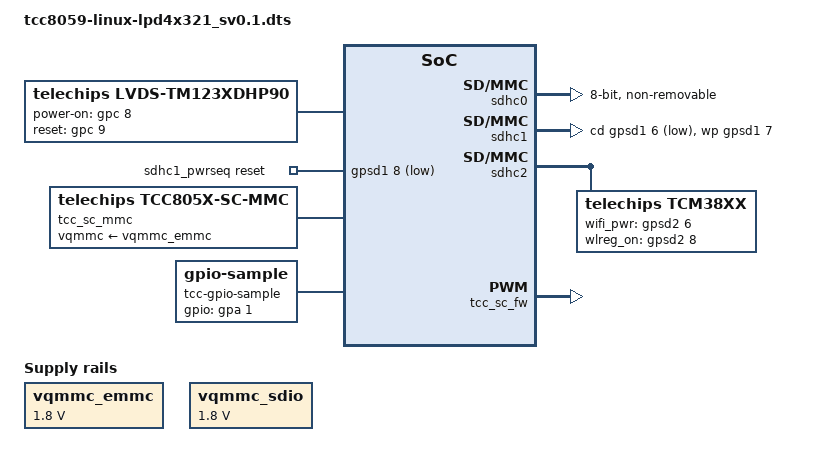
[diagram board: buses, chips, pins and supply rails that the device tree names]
// SPDX-License-Identifier: (GPL-2.0-or-later OR MIT)
/*
 * Copyright (C) Telechips Inc.
 * Device tree for Telechips TCC8059 AVN board
 */

#ifndef DT_OVERLAY
/dts-v1/;
#endif

#include "tcc8059-linux-avn.dtsi"
#include "tcc8059-linux-avn-display.dtsi"

/ {
	/* Describe here after remove this statement if you have something to be override. */
	tm123xdhp90 {
		compatible = "telechips,lvds-tm123xdhp90";
		status = "okay";
		lvds0 = <&lvds_phy>;
		power-on-gpios = <&gpc 8 0>;   // LCD_ON
		reset-gpios = <&gpc 9 0>;    // LCD_RST
		/*
			 display-on-gpios = ;    // LCD_DISP
			 lvds-stby-gpios = ;   // LCD_DE = LVDS_STBY in LVDS
			 lvds-power-gpios = ;    // LVDS_EN
			 lvds-power-gpios1 = ;   // V_5V0_EN
		 */
		mode = <1>;   /* 0: single 1: dual */
		ports = <2 3>;
		mux_select = <2>;
	};

	vqmmc_emmc: vqmmc_emmc {
		compatible = "regulator-fixed";
		regulator-name = "vqmmc_emmc";
		regulator-min-microvolt = <1800000>;
		regulator-max-microvolt = <1800000>;
		regulator-always-on;
	};

	sdhc1_pwrseq: sdhc1_pwrseq {
		compatible = "mmc-pwrseq-simple";
		reset-gpios = <&gpsd1 8 GPIO_ACTIVE_LOW>;
	};

	vqmmc_sdio: vqmmc_sdio {
		compatible = "regulator-fixed";
		regulator-name = "vqmmc_sdio";
		regulator-min-microvolt = <1800000>;
		regulator-max-microvolt = <1800000>;
		regulator-always-on;
	};

        vioc_mgr@0 {
                status = "okay";
        };

	tcc_vsync {
		compatible = "telechips,tcc_vsync";
		display-vioc0 = <&vioc_disp VIOC_DISP0>;
		display-vioc1 = <&vioc_disp VIOC_DISP1>;
		status = "okay";
	};

	tcc_viqe {
		compatible = "telechips,tcc_viqe";
		status ="okay";
		tcc_viqe_viqe_common {
			board_num=<1>;
		};
	};

	tcc_vsync: tcc_vsync_drv {};

	tcc_viqe: tcc_video_viqe {
		compatible = "telechips,tcc_viqe";

		tcc_viqe_viqe_common {
			telechips,viqe,0 = <&vioc_viqe VIOC_VIQE0>;
			telechips,viqe,1 = <&vioc_viqe VIOC_VIQE1>;
			vioc_deintls = <VIOC_DEINTLS0>;
			board_num=<0>;
		};

		tcc_video_viqe_lcd {
			telechips,wmixer = <&vioc_wmix VIOC_WMIX1>;
			telechips,rdma,60 = <&vioc_rdma VIOC_RDMA07>;
			telechips,disp = <&vioc_disp VIOC_DISP1>;
			telechips,sc = <&vioc_scaler VIOC_SCALER1>;
			viqe_rdma_num_60 = <VIOC_VIQE_RDMA_07>;
			sc_rdma_num_60 = <VIOC_SC_RDMA_07>;
		};

		tcc_video_viqe_external {
			telechips,wmixer = <&vioc_wmix VIOC_WMIX0>;
			telechips,rdma,60 = <&vioc_rdma VIOC_RDMA03>;
			telechips,disp = <&vioc_disp VIOC_DISP0>;
			telechips,sc = <&vioc_scaler VIOC_SCALER1>;
			viqe_rdma_num_60 = <VIOC_VIQE_RDMA_03>;
			sc_rdma_num_60 = <VIOC_SC_RDMA_03>;
		};

	        tcc_video_viqe_external_sub {
	            telechips,wmixer = <&vioc_wmix VIOC_WMIX0>;
	            telechips,rdma,60 = <&vioc_rdma VIOC_RDMA02>;
	            telechips,disp = <&vioc_disp VIOC_DISP0>;
	            telechips,sc = <&vioc_scaler VIOC_SCALER3>;
	            viqe_rdma_num_60 = <VIOC_VIQE_RDMA_02>;
	            sc_rdma_num_60 = <VIOC_SC_RDMA_02>;
	        };

		tcc_video_main_m2m{
			main_rdma_num_m2m = <VIOC_VIQE_RDMA_16>;
			telechips,main_rdma,m2m = <&vioc_rdma VIOC_RDMA16>;
		};

		tcc_video_sub_m2m {
			sub_rdma_num_m2m = <VIOC_VIQE_RDMA_07>;
			telechips,sub_rdma,m2m = <&vioc_rdma VIOC_RDMA07>;
		};

		tcc_video_scaler_main_m2m {
			clocks = <&clk_ddi DDIBUS_VIOC>;
			m2m_sc_rdma = <&vioc_rdma VIOC_RDMA16>;
			m2m_sc_scaler = <&vioc_scaler VIOC_SCALER1>;	/* id:1, path:17 */
			m2m_sc_wmix = <&vioc_wmix VIOC_WMIX5>;	/* id:5, path:6 */
			m2m_sc_wdma = <&vioc_wdma VIOC_WDMA06>;
			m2m_sc_scaler_path = <VIOC_SC_RDMA_16>;
			m2m_sc_settop_support = <1>;
		};

		tcc_video_scaler_sub_m2m {
			clocks = <&clk_ddi DDIBUS_VIOC>;
			m2m_sc_rdma = <&vioc_rdma VIOC_RDMA07>;
			m2m_sc_scaler = <&vioc_scaler VIOC_SCALER3>;	/* id:3, path:7 */
			m2m_sc_wmix = <&vioc_wmix VIOC_WMIX1>;	/* id:1, path:3 */
			m2m_sc_wdma = <&vioc_wdma VIOC_WDMA01>;
			m2m_sc_scaler_path = <VIOC_SC_RDMA_07>;
			m2m_sc_settop_support = <1>;
		};
	};

	tcc_sc_mmc: tcc_sc_mmc {
		compatible = "telechips,tcc805x-sc-mmc";
		status = "okay";

		max-frequency = <200000000>;
		bus-width = <8>;

		sc-firmware = <&tcc_sc_fw>;

		no-sdio;
		no-sd;
		non-removable;
		keep-power-in-suspend;
		disable-wp;

		mmc-hs400-1_8v;
		vqmmc-supply = <&vqmmc_emmc>;
	};

        tcc-gpio-sample {
                compatible = "gpio-sample";
                leble = "TCC GPIO";
                /*EDGE_RISING : 0, EDGE_FALLING : 1, EDGE_BOTH : 2,
                LEVEL_HIGH : 3, LEVEL_LOW : 4*/
                irq-type = <2>;
                gpios = <&gpa 1 0>;
        };


};

/* eMMC */
&sdhc0 {
	bus-width = <8>;
	pinctrl-names = "default";
	pinctrl-0 = <&sd0_clk &sd0_cmd &sd0_bus8 &sd0_strb>;

	sdhci-caps-mask = <0x7 0x0>;

	non-removable;
	keep-power-in-suspend;
	disable-wp;
	cap-mmc-hw-reset;

	mmc-hs400-1_8v;
	mmc-hs400-enhanced-strobe;
	tcc-mmc-taps = <0xF 0xF 0xF 0xF>;
	tcc-mmc-hs400-pos-tap = <0x6>;
	tcc-mmc-hs400-neg-tap = <0xB>;

	tcc-mmc-reset = <&gpsd0 14 0>;

	vqmmc-supply = <&vqmmc_emmc>;
};

&sd0_clk {
	telechips,no-pull;
};

&sd0_cmd {
	telechips,no-pull;
};

&sd0_bus8 {
	telechips,no-pull;
};

/* SD slot */
&sdhc1 {
#ifdef CONFIG_MMC_SDHCI_TCC_MODULE_ONLY
	/*
	 * In order to reduce boot time,
	 * we use the driver as module not built-in.
	 */
	compatible = "telechips,tcc805x-sdhci,module-only";
#endif
	status = "okay";
	pinctrl-names = "default";
	pinctrl-0 = <&sd1_clk &sd1_cmd &sd1_bus4 &sd1_bus4_wp_cd &sd1_pwr>;


	broken-cd;
	cd-inverted;
	keep-power-in-suspend;

	wp-gpios = <&gpsd1 7 0>;
	cd-gpios = <&gpsd1 6 0>;

	mmc-pwrseq = <&sdhc1_pwrseq>;
	vqmmc-supply = <&DA9062_LDO4>;

};

&sd1_clk {
	telechips,no-pull;
};

&sd1_cmd {
	telechips,no-pull;
};

&sd1_bus4 {
	telechips,no-pull;
};

/* SDIO */
&sdhc2 {
	status = "okay";
	pinctrl-names = "default";
	pinctrl-0 = <&sd2_clk &sd2_cmd &sd2_bus4 &out0_clk>;

	keep-power-in-suspend;
	cap-sdio-irq;

	vqmmc-supply = <&vqmmc_sdio>;

	cd-force-presence-change;

	tcm38xx {
		compatible = "telechips,tcm38xx";
		wifi_pwr-gpio = <&gpsd2 6 0>; /* BT_WIFI_VBAT_EN */
		wlreg_on-gpio = <&gpsd2 8 0>; /* WIFI_REG_ON */
		//wifi_pwr_1p8v-gpio = <&gpsd1 6 0>;
		//wifi_pwr_3p3v-gpio = <&gpsd1 7 0>;
	};
};

&sd2_clk {
	telechips,no-pull;
};

&sd2_cmd {
	telechips,pull-up;
};

&sd2_bus4 {
	telechips,pull-up;
};

&a72_sc_mbox {
	status = "okay";
};

&tcc_sc_fw {
	status = "okay";
	mboxes = <&a72_sc_mbox 0>;
};

&rotary_encoder0 {
	compatible = "rotary-encoder";
	status = "disable";                  //To use it, change the status from disable to okay
	pinctrl-names = "default";
	pinctrl-0 = <&mc_vol>;
	gpios = <&gpma 5 1>, <&gpma 6 1>;
	linux,axis = <0>;
	rotary-encoder,relative-axis;
};

&rotary_encoder1 {
	compatible = "rotary-encoder";
	status = "disable";                  //To use it, change the status from disable to okay
	pinctrl-names = "default";
	pinctrl-0 = <&mc_ctr>;
	gpios = <&gpma 7 1>, <&gpma 8 1>;
	linux,axis = <0>;
	rotary-encoder,relative-axis;
};
